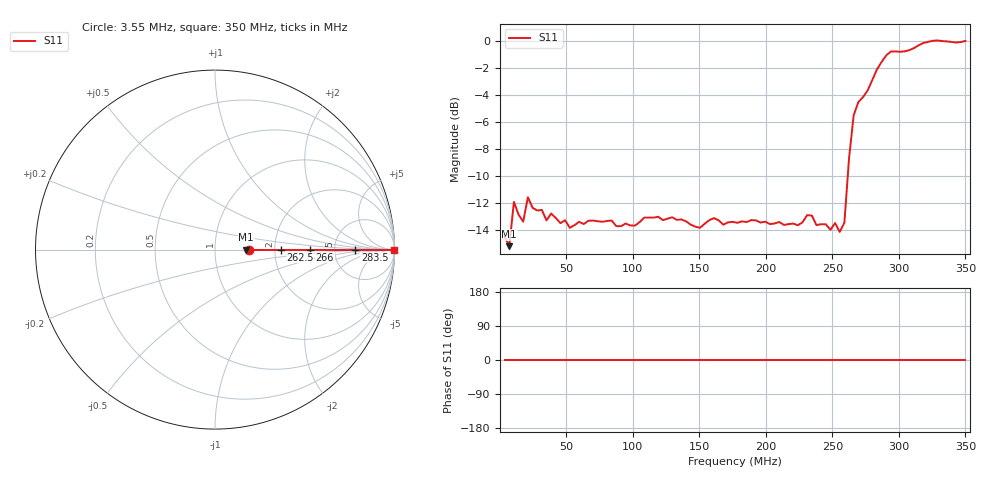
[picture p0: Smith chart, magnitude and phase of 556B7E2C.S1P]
!File created by NanoVNA
# Hz S RI R 50
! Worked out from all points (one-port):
!   100 points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, 3.55 MHz to 350 MHz, reference 50 ohm
!   lowest |S11| = -15.2 dB at 7.049 MHz (marker M1), VSWR 1.42, Z = 71 + j0 ohm
!   |S11| at or under -10 dB: start of sweep to 261.6 MHz
!   S11 on the Smith chart (normalised r, x): 3.55 MHz: 1.47, +0.00; 262.5 MHz: 2.16, +0.00; 266 MHz: 3.25, +0.00; 283.5 MHz: 8.18, +0.00; 350 MHz: open
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3549500  0.1887 0
7049000  0.1736 0
1.05485e7  0.253 0
1.75475e7  0.2139 0
2.1047e7  0.2634 0
3.5045e7  0.2163 0
3.85445e7  0.2292 0
4.9043e7  0.2164 0
5.25425e7  0.203 0
9.1037e7  0.2057 0
1.365305e8  0.218 0
1.505285e8  0.2031 0
1.61027e8  0.2204 0
1.785245e8  0.2118 0
2.205185e8  0.2104 0
2.345165e8  0.2253 0
2.38016e8  0.2077 0
2.52014e8  0.2113 0
2.555135e8  0.1959 0
2.59013e8  0.2118 0
2.625125e8  0.3662 0
2.66012e8  0.5295 0
2.765105e8  0.6535 0
2.835095e8  0.7822 0
2.94008e8  0.9106 0
3.08006e8  0.9218 0
3.255035e8  0.9977 0
3.5e8  0.9962 0
